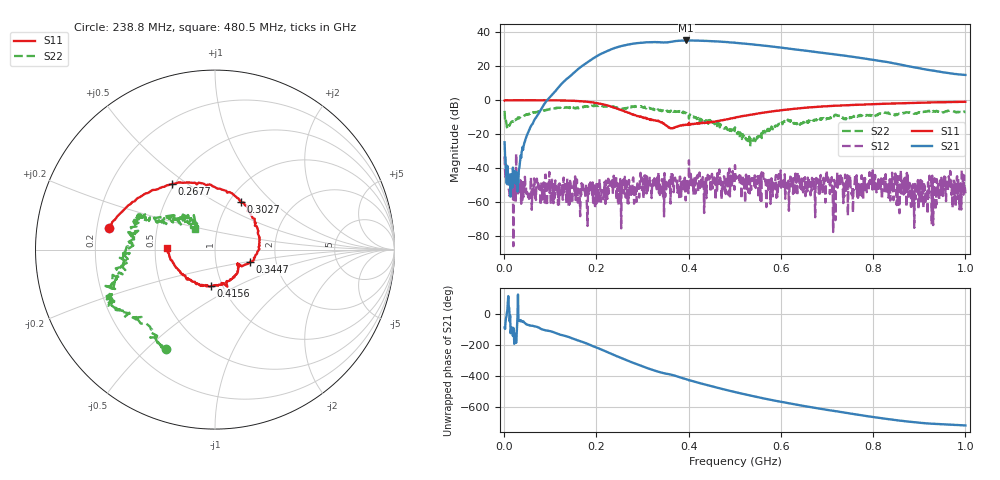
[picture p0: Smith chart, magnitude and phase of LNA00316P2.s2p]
! Created with skrf 1.9.0 (http://scikit-rf.org).
# Hz S RI R 50.0
!freq ReS11 ImS11 ReS21 ImS21 ReS12 ImS12 ReS22 ImS22
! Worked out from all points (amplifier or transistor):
!   1001 points, 1 MHz to 1 GHz, reference 50 ohm
!   highest |S21| = 35.2 dB at 394.6 MHz (marker M1)
!   |S21| within 3 dB of that: 259 MHz to 561.2 MHz (302.1 MHz wide, 73.7 % of centre) (the widest 1 of 2)
!   unconditionally stable (mu >= 1): 26.23 MHz to 86.61 MHz; 334.7 MHz to 400.3 MHz; 401 MHz to end of sweep (the widest 3 of 33)
!   at 166.8 MHz: K = 2.00, MAG = 32.1 dB, |S12| = -55.9 dB
!   at 500.5 MHz: K = 1.08, MAG = 34.3 dB, |S12| = -38.3 dB
!   at 1 GHz: K = 7.55, MAG = 23.1 dB, |S12| = -54.8 dB
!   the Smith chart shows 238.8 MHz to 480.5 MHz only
!   S11 on the Smith chart (normalised r, x): 238.8 MHz: 0.25, +0.09; 267.7 MHz: 0.48, +0.44; 302.7 MHz: 1.14, +0.66; 344.7 MHz: 1.47, -0.21; 415.6 MHz: 0.88, -0.38; 480.5 MHz: 0.58, +0.01
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1000000  0.9781 0.00543  0.00571 -0.0573  -0.0204 0.00872  0.3684 0.3168
1.08892e8  0.5049 -0.8561  -0.8102 -1.527  0.000749 0.00105  0.4406 -0.3663
1.67833e8  -0.2594 -0.8921  -9.918 -0.5632  0.00287 -0.00221  0.0483 -0.6278
2.08792e8  -0.687 -0.3836  -15.78 16.33  -0.002 0.000263  -0.1875 -0.6589
2.38762e8  -0.5903 0.1187  -2.994 33.96  0.00161 -0.00231  -0.2742 -0.5515
2.67733e8  -0.2416 0.3648  21.95 37.17  0.000466 0.0008  -0.47 -0.3642
3.02698e8  0.1447 0.2634  46.67 16.69  0.000683 -0.00108  -0.5566 -0.2195
3.34666e8  0.2479 0.00359  49.82 -11.35  -0.00727 0.00205  -0.5079 -0.0167
3.44656e8  0.1952 -0.0679  46.58 -17.97  -0.00125 -0.000425  -0.4922 0.0163
3.7063e8  0.1282 -0.0916  43.01 -34.25  0.00226 0.00475  -0.4421 0.1473
3.94606e8  0.0815 -0.1731  27.77 -50.23  0.000862 0.00307  -0.3845 0.1757
4.15585e8  -0.0231 -0.2042  10.95 -55.86  0.00193 0.00427  -0.2498 0.1678
4.45555e8  -0.1661 -0.1449  -12.84 -53.54  0.00564 0.000472  -0.16 0.1852
4.8052e8  -0.2685 0.00851  -33.18 -39.86  -0.000668 0.0016  -0.1133 0.1135
5.005e8  -0.2709 0.125  -40.07 -28.91  0.000883 -0.0122  -0.1376 0.0799
5.39461e8  -0.2041 0.3234  -43.13 -7.084  0.00366 -0.00262  -0.0612 -0.0181
5.85415e8  -0.00833 0.4771  -35.37 12.26  0.00242 -0.00293  -0.149 -0.0667
6.25375e8  0.1818 0.5223  -23.89 21.1  -0.00228 -0.00419  -0.1817 -0.1322
6.67333e8  0.3855 0.4887  -11.97 24.16  -0.0014 -0.005  -0.264 -0.0419
7.53247e8  0.6637 0.2805  4.965 18.45  -0.000634 0.00157  -0.3108 0.0428
8.34166e8  0.7918 0.0204  10 8.259  -0.0013 0.00173  -0.4043 0.0699
1e9  0.7247 -0.5292  5.544 -0.0767  -0.00166 0.000758  -0.238 0.3794
